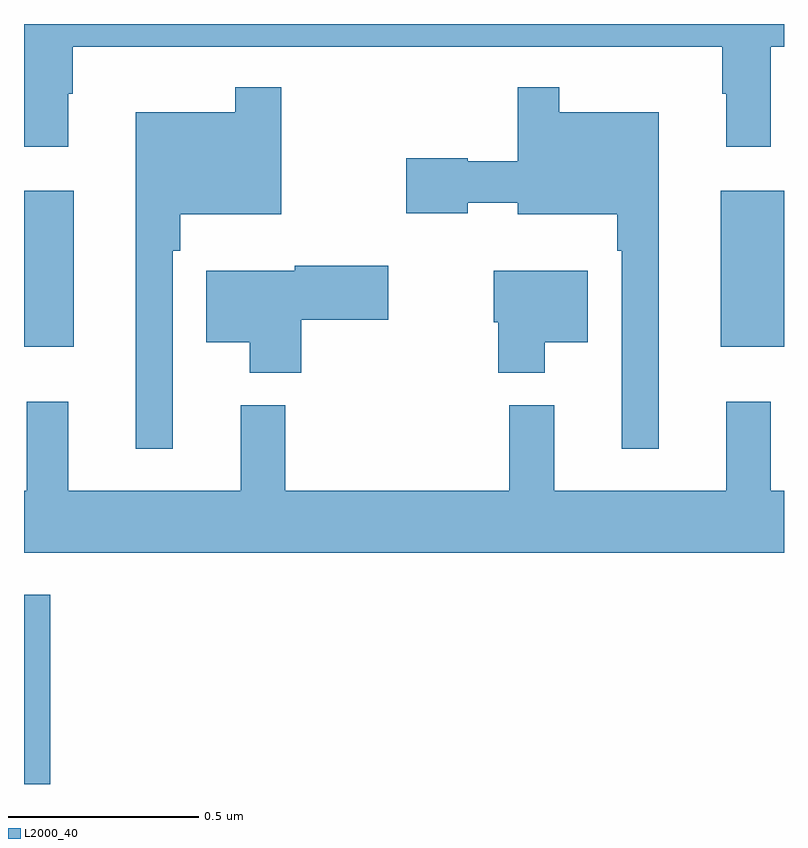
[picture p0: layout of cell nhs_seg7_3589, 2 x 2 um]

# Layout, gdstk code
import gdstk
lib = gdstk.Library(unit=1e-6, precision=1e-09)
def R(c, l, rs):  # rectangles x0, y0, x1, y1
    for r in rs: c.add(gdstk.rectangle(r[:2], r[2:], *l))
def P(c, l, *ps):  # polygons
    for p in ps: c.add(gdstk.Polygon(p, *l))
L2000_40 = (2000, 40)

nhs_seg7_3589 = lib.new_cell('nhs_seg7_3589')
R(nhs_seg7_3589, L2000_40, [(161,1008,161.069,1008.498), (161,1009.151,161.131,1009.561), (162.833,1009.151,163,1009.561)])
P(nhs_seg7_3589, L2000_40, [(161.116,1009.817),(161.128,1009.817),(161.128,1009.94),(162.837,1009.94),(162.837,1009.817),(162.848,1009.817),(162.848,1009.677),(162.965,1009.677),(162.965,1009.94),(163,1009.94),(163,1010),(161,1010),(161,1009.677),(161.116,1009.677)],
  [(161.391,1009.403),(161.411,1009.403),(161.411,1009.499),(161.677,1009.499),(161.677,1009.834),(161.556,1009.834),(161.556,1009.768),(161.294,1009.768),(161.294,1008.882),(161.391,1008.882)],
  [(162.67,1009.768),(162.409,1009.768),(162.409,1009.834),(162.299,1009.834),(162.299,1009.639),(162.168,1009.639),(162.168,1009.647),(162.006,1009.647),(162.006,1009.502),(162.168,1009.502),(162.168,1009.529),(162.299,1009.529),(162.299,1009.499),(162.561,1009.499),(162.561,1009.403),(162.573,1009.403),(162.573,1008.882),(162.67,1008.882)],
  [(161.729,1009.222),(161.959,1009.222),(161.959,1009.364),(161.712,1009.364),(161.712,1009.351),(161.48,1009.351),(161.48,1009.163),(161.594,1009.163),(161.594,1009.082),(161.729,1009.082)],
  [(162.37,1009.163),(162.484,1009.163),(162.484,1009.351),(162.236,1009.351),(162.236,1009.215),(162.248,1009.215),(162.248,1009.082),(162.37,1009.082)],
  [(163,1008.772),(162.965,1008.772),(162.965,1009.006),(162.848,1009.006),(162.848,1008.772),(162.395,1008.772),(162.395,1008.997),(162.277,1008.997),(162.277,1008.772),(161.687,1008.772),(161.687,1008.997),(161.57,1008.997),(161.57,1008.772),(161.117,1008.772),(161.117,1009.006),(161.007,1009.006),(161.007,1008.772),(161,1008.772),(161,1008.608),(163,1008.608)])

lib.write_gds('nhs_seg7_3589.gds')
